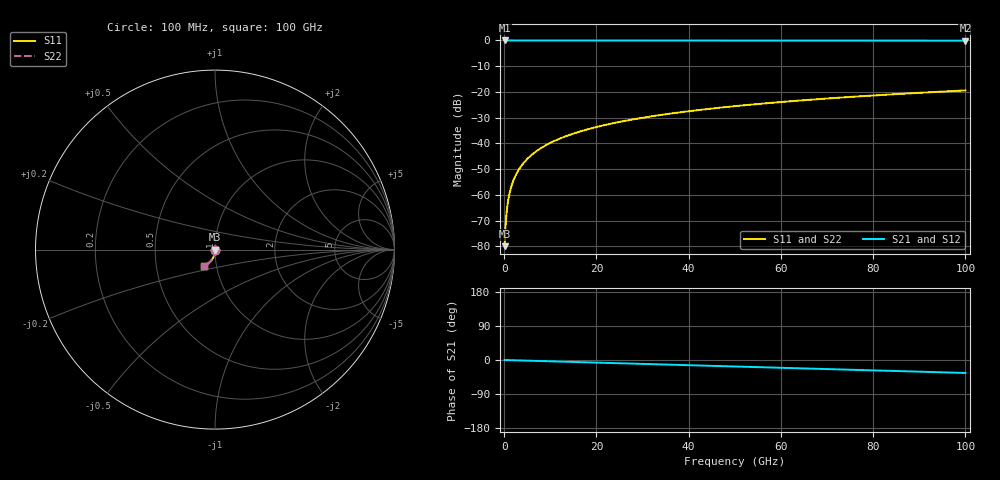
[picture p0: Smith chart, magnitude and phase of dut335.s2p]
! Touchstone file exported from HFSS 2026.1.0
!  File:  C:/ffzhzh/LocalFiles/Ansys_Project_Files/temp_train_TSV_335_1783509738_9504.aedt
!  Generated:  07:23:28 PM Jul  8, 2026
!  Design:  TSV
!  Project:  temp_train_TSV_335_1783509738_9504
! Variables:
!  h_bsmrdl = 2um
!  h_ox = 20um
!  h_rdl = 5um
!  h_sub = 66.57um
!  h_tmrdl = 5um
!  h_tsv = 66.57um
!  h_via = 3um
!  l_bsmrdl = 300um
!  l_sub = 426.74um
!  l_tmrdl = 200um
!  m_sub = 200um
!  pitch = 45.18um
!  r_tsv = 13.37um
!  s_tmrdl = 10um
!  w_bsmrdl = 18um
!  w_sub = 500um
!  w_tmrdl = 12um
!  x_tsv_center1 = 206um
!  x_tsv_center2 = 524um
!  x_tsv_center3 = 736um
!  x_tsv_center4 = 1054um
!  x_tsv_center5 = 1266um
!  x_tsv_center6 = 1584um
# GHz S MA R 50.000000
! Terminal data exported
! Port[1] = TSV1_1_T1
! Port[2] = TSV1_1_T2
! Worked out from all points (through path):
!   1000 points, 100 MHz to 100 GHz, reference 50 ohm
!   highest |S21| = 0.00 dB at 100 MHz (marker M1); lowest = -0.1 dB at 100 GHz (marker M2)
!   group delay of S21, straight-line fit = 949 fs
!   lowest |S11| = -79.9 dB at 100 MHz (marker M3), VSWR 1.00, Z = 50 - j0.00677 ohm
!   |S11| at or under -10 dB: start of sweep to end of sweep
!   |S22| runs from -79.9 to -19.4 dB; largest |S21 - S12| = 3.5e-15
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0.1  0.0001011 -42.0  0.9999 -0.0  0.9999 -0.0  0.0001011 -42.0
! Gamma 0 0 0 0
! Port Impedance 50 0 50 0
0.4  0.0003282 -67.7  0.9999 -0.1  0.9999 -0.1  0.0003282 -67.7
0.7  0.0006098 -73.5  0.9998 -0.2  0.9998 -0.2  0.0006098 -73.5
0.8  0.0007073 -74.8  0.9998 -0.3  0.9998 -0.3  0.0007073 -74.8
1.1  0.001003 -77.7  0.9998 -0.4  0.9998 -0.4  0.001003 -77.7
1.4  0.001301 -79.6  0.9998 -0.5  0.9998 -0.5  0.001301 -79.6
1.8  0.001701 -81.2  0.9997 -0.6  0.9997 -0.6  0.001701 -81.2
2.4  0.002306 -82.9  0.9997 -0.8  0.9997 -0.8  0.002306 -82.9
3  0.002918 -84.0  0.9996 -1.0  0.9996 -1.0  0.002918 -84.0
3.8  0.003742 -85.1  0.9996 -1.3  0.9996 -1.3  0.003742 -85.1
4.8  0.00478 -86.2  0.9995 -1.7  0.9995 -1.7  0.00478 -86.2
5.9  0.005928 -87.1  0.9995 -2.0  0.9995 -2.0  0.005928 -87.1
8.7  0.008864 -89.0  0.9993 -3.0  0.9993 -3.0  0.008864 -89.0
12.3  0.01266 -90.8  0.9992 -4.2  0.9992 -4.2  0.01266 -90.8
16.8  0.01743 -92.9  0.999 -5.8  0.999 -5.8  0.01743 -92.8
24.1  0.02521 -95.9  0.9986 -8.2  0.9986 -8.2  0.02521 -95.9
33.4  0.03515 -99.5  0.9981 -11.4  0.9981 -11.4  0.03515 -99.4
41.2  0.0435 -102.3  0.9977 -14.1  0.9977 -14.1  0.0435 -102.3
50.1  0.05305 -105.5  0.997 -17.1  0.997 -17.1  0.05306 -105.5
66.7  0.07097 -111.4  0.9957 -22.8  0.9957 -22.8  0.07097 -111.4
83.4  0.08907 -117.3  0.9939 -28.5  0.9939 -28.5  0.08907 -117.3
100  0.107 -123.3  0.9918 -34.2  0.9918 -34.2  0.107 -123.2
